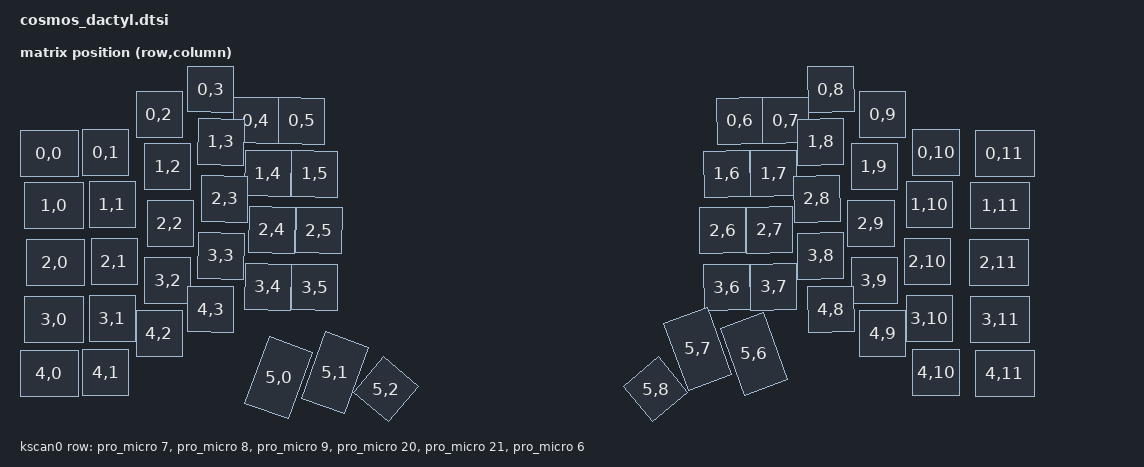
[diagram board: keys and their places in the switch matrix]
/*
 * Copyright (c) 2020 Pete Johanson, Ryan Cross
 *
 * SPDX-License-Identifier: MIT
 */

#include <dt-bindings/zmk/matrix_transform.h>

#include <physical_layouts.dtsi>

#include <input/processors.dtsi>

/ {
    physical_layout0: physical_layout_0 {
        compatible = "zmk,physical-layout";
        display-name = "Cosmos Dactyl Layout";

        kscan = <&kscan0>;
        transform = <&default_transform>;

        keys  //                     w   h    x    y     rot    rx    ry
            = <&key_physical_attrs 125 100    0  128       0     0     0>
            , <&key_physical_attrs 100 100  125  126       0     0     0>
            , <&key_physical_attrs 100 100  232   50       0     0     0>
            , <&key_physical_attrs 100 100  335    0     100   385    50>
            , <&key_physical_attrs 100 100  426   62     100   476   112>
            , <&key_physical_attrs 100 100  517   63     100   567   113>
            , <&key_physical_attrs 100 100 1394   63  (-100)  1444   113>
            , <&key_physical_attrs 100 100 1485   62  (-100)  1535   112>
            , <&key_physical_attrs 100 100 1576    0  (-100)  1626    50>
            , <&key_physical_attrs 100 100 1679   50       0     0     0>
            , <&key_physical_attrs 100 100 1786  126       0     0     0>
            , <&key_physical_attrs 125 100 1911  128       0     0     0>
            , <&key_physical_attrs 125 100    9  233       0     0     0>
            , <&key_physical_attrs 100 100  138  231       0     0     0>
            , <&key_physical_attrs 100 100  249  155       0     0     0>
            , <&key_physical_attrs 100 100  356  105     100   406   155>
            , <&key_physical_attrs 100 100  450  168     100   500   218>
            , <&key_physical_attrs 100 100  543  169     100   593   219>
            , <&key_physical_attrs 100 100 1368  169  (-100)  1418   219>
            , <&key_physical_attrs 100 100 1461  168  (-100)  1511   218>
            , <&key_physical_attrs 100 100 1555  105  (-100)  1605   155>
            , <&key_physical_attrs 100 100 1662  155       0     0     0>
            , <&key_physical_attrs 100 100 1773  231       0     0     0>
            , <&key_physical_attrs 125 100 1902  233       0     0     0>
            , <&key_physical_attrs 125 100   12  347       0     0     0>
            , <&key_physical_attrs 100 100  142  345       0     0     0>
            , <&key_physical_attrs 100 100  254  269       0     0     0>
            , <&key_physical_attrs 100 100  363  219     100   413   269>
            , <&key_physical_attrs 100 100  458  281     100   508   331>
            , <&key_physical_attrs 100 100  552  282     100   602   332>
            , <&key_physical_attrs 100 100 1359  282  (-100)  1409   332>
            , <&key_physical_attrs 100 100 1453  281  (-100)  1503   331>
            , <&key_physical_attrs 100 100 1548  219  (-100)  1598   269>
            , <&key_physical_attrs 100 100 1656  269       0     0     0>
            , <&key_physical_attrs 100 100 1769  345       0     0     0>
            , <&key_physical_attrs 125 100 1899  347       0     0     0>
            , <&key_physical_attrs 125 100    9  461       0     0     0>
            , <&key_physical_attrs 100 100  138  459       0     0     0>
            , <&key_physical_attrs 100 100  249  383       0     0     0>
            , <&key_physical_attrs 100 100  356  333     100   406   383>
            , <&key_physical_attrs 100 100  450  395     100   500   445>
            , <&key_physical_attrs 100 100  543  396     100   593   446>
            , <&key_physical_attrs 100 100 1368  396  (-100)  1418   446>
            , <&key_physical_attrs 100 100 1461  395  (-100)  1511   445>
            , <&key_physical_attrs 100 100 1555  333  (-100)  1605   383>
            , <&key_physical_attrs 100 100 1662  383       0     0     0>
            , <&key_physical_attrs 100 100 1773  459       0     0     0>
            , <&key_physical_attrs 125 100 1902  461       0     0     0>
            , <&key_physical_attrs 125 100    0  568       0     0     0>
            , <&key_physical_attrs 100 100  125  566       0     0     0>
            , <&key_physical_attrs 100 100  232  489       0     0     0>
            , <&key_physical_attrs 100 100  335  440     100   385   490>
            , <&key_physical_attrs 100 100 1576  440  (-100)  1626   490>
            , <&key_physical_attrs 100 100 1679  489       0     0     0>
            , <&key_physical_attrs 100 100 1786  566       0     0     0>
            , <&key_physical_attrs 125 100 1911  568       0     0     0>
            , <&key_physical_attrs 150 100  480  553   11000   530   603>
            , <&key_physical_attrs 150 100  593  543   11000   643   593>
            , <&key_physical_attrs 100 100  686  600    4000   736   650>
            , <&key_physical_attrs 100 100 1225  600 (-4000)  1275   650>
            , <&key_physical_attrs 150 100 1318  543 (-11000)  1368   593>
            , <&key_physical_attrs 150 100 1431  553 (-11000)  1481   603>
            ;
    };
};


/ {
    chosen {
        zephyr,display = &oled;
        zmk,kscan = &kscan0;
    };

    default_transform: keymap_transform_0 {
        compatible = "zmk,matrix-transform";
        columns = <12>;
        rows = <6>;
// | SW6  | SW5  | SW4  | SW3  | SW2  | SW1  |                 | SW1  | SW2  | SW3  | SW4  | SW5  | SW6  |
// | SW12 | SW11 | SW10 | SW9  | SW8  | SW7  |                 | SW7  | SW8  | SW9  | SW10 | SW11 | SW12 |
// | SW18 | SW17 | SW16 | SW15 | SW14 | SW13 |                 | SW13 | SW14 | SW15 | SW16 | SW17 | SW18 |
// | SW24 | SW23 | SW22 | SW21 | SW20 | SW19 | SW25 |   | SW25 | SW19 | SW20 | SW21 | SW22 | SW23 | SW24 |
//               | SW30 | SW29 | SW28 | SW27 | SW26 |   | SW26 | SW27 | SW28 | SW29 | SW30 |
        map = <
RC(0,0) RC(0,1) RC(0,2) RC(0,3) RC(0,4) RC(0,5)                 RC(0,6) RC(0,7) RC(0,8) RC(0,9) RC(0,10) RC(0,11)
RC(1,0) RC(1,1) RC(1,2) RC(1,3) RC(1,4) RC(1,5)                 RC(1,6) RC(1,7) RC(1,8) RC(1,9) RC(1,10) RC(1,11)
RC(2,0) RC(2,1) RC(2,2) RC(2,3) RC(2,4) RC(2,5)                 RC(2,6) RC(2,7) RC(2,8) RC(2,9) RC(2,10) RC(2,11)
RC(3,0) RC(3,1) RC(3,2) RC(3,3) RC(3,4) RC(3,5)                 RC(3,6) RC(3,7) RC(3,8) RC(3,9) RC(3,10) RC(3,11)
RC(4,0) RC(4,1) RC(4,2) RC(4,3)                                                 RC(4,8) RC(4,9) RC(4,10) RC(4,11)
RC(5,0) RC(5,1) RC(5,2)                                                                 RC(5,8) RC(5,7) RC(5,6)
        >;
    };
    
    kscan0: kscan {
        compatible = "zmk,kscan-gpio-matrix";
        wakeup-source;

        diode-direction = "col2row";
        row-gpios
            = <&pro_micro 7 (GPIO_ACTIVE_HIGH | GPIO_PULL_DOWN)>
            , <&pro_micro 8 (GPIO_ACTIVE_HIGH | GPIO_PULL_DOWN)>
            , <&pro_micro 9 (GPIO_ACTIVE_HIGH | GPIO_PULL_DOWN)>
            , <&pro_micro 20 (GPIO_ACTIVE_HIGH | GPIO_PULL_DOWN)>
            , <&pro_micro 21 (GPIO_ACTIVE_HIGH | GPIO_PULL_DOWN)>
            , <&pro_micro 6 (GPIO_ACTIVE_HIGH | GPIO_PULL_DOWN)>
            ;
    };

    // Cribbed from https://github.com/Cyboard-DigitalTailor/zmk-keyboards/tree/main

    //right hand trackball
    split_inputs {
        #address-cells = <1>;
        #size-cells = <0>;

        trackball_listener_split: trackball_listener_split@0 {
            compatible = "zmk,input-split";
            reg = <0>;
        };
    };

    trackball_listener: trackball_listener {
        compatible = "zmk,input-listener";
        status = "disabled";
        device = <&trackball_listener_split>;
    };

    //left hand trackball
    scrollball_listener: scrollball_listener {
        compatible = "zmk,input-listener";
        status = "disabled";
        input-processors =  <&zip_xy_to_scroll_mapper>;
    };
};

&pro_micro_i2c {
    status = "okay";

    oled: ssd1306@3c {
        compatible = "solomon,ssd1306fb";
        reg = <0x3c>;
        width = <128>;
        height = <32>;
        segment-offset = <0>;
        page-offset = <0>;
        display-offset = <0>;
        multiplex-ratio = <31>;
        segment-remap;
        com-invdir;
        com-sequential;
        inversion-on;
        prechargep = <0x22>;
    };
};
